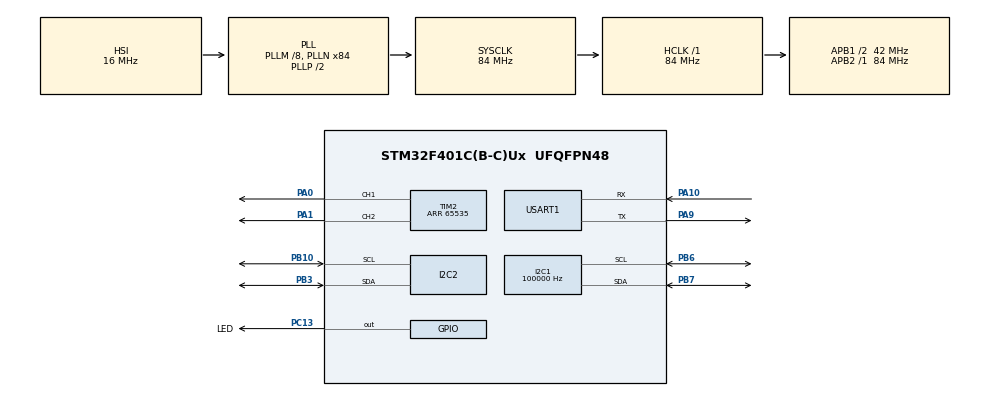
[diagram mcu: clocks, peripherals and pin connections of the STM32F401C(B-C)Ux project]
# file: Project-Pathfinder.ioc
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FREERTOS.Tasks01=statusTask,16,128,StartStatusTask,Default,NULL,Dynamic,NULL,NULL;commsTask,24,128,StartCommsTask,Default,NULL,Dynamic,NULL,NULL;readSensorGyro,16,128,StartReadSensorGyro,Default,NULL,Dynamic,NULL,NULL
FREERTOS.configUSE_NEWLIB_REENTRANT=1
I2C1.ClockSpeed=100000
I2C1.NoStretchMode=I2C_NOSTRETCH_DISABLE
Mcu.Family=STM32F4
Mcu.Name=STM32F401C(B-C)Ux
Mcu.Package=UFQFPN48
NVIC.PriorityGroup=NVIC_PRIORITYGROUP_4
NVIC.TIM1_UP_TIM10_IRQn=true\:15\:0\:false\:false\:true\:false\:false\:true
NVIC.TimeBase=TIM1_UP_TIM10_IRQn
NVIC.TimeBaseIP=TIM10
PA0-WKUP.Signal=S_TIM2_CH1_ETR
PA1.Signal=S_TIM2_CH2
PA10.Mode=Asynchronous
PA10.Signal=USART1_RX
PA9.Mode=Asynchronous
PA9.Signal=USART1_TX
PB10.Mode=I2C
PB10.Signal=I2C2_SCL
PB3.Mode=I2C
PB3.Signal=I2C2_SDA
PB6.Mode=I2C
PB6.Signal=I2C1_SCL
PB7.Mode=I2C
PB7.Signal=I2C1_SDA
PC13-ANTI_TAMP.GPIO_Label=LED
PC13-ANTI_TAMP.Signal=GPIO_Output
PH0\ -\ OSC_IN.Mode=HSE-External-Oscillator
PH0\ -\ OSC_IN.Signal=RCC_OSC_IN
PH1\ -\ OSC_OUT.Mode=HSE-External-Oscillator
PH1\ -\ OSC_OUT.Signal=RCC_OSC_OUT
ProjectManager.HeapSize=0x200
ProjectManager.StackSize=0x400
ProjectManager.TargetToolchain=STM32CubeIDE
RCC.48MHZClocksFreq_Value=42000000
RCC.AHBFreq_Value=84000000
RCC.APB1CLKDivider=RCC_HCLK_DIV2
RCC.APB1Freq_Value=42000000
RCC.APB1TimFreq_Value=84000000
RCC.APB2Freq_Value=84000000
RCC.APB2TimFreq_Value=84000000
RCC.CortexFreq_Value=84000000
RCC.HCLKFreq_Value=84000000
RCC.HSE_VALUE=25000000
RCC.HSI_VALUE=16000000
RCC.LSE_VALUE=32768
RCC.PLLM=8
RCC.PLLN=84
RCC.SYSCLKFreq_VALUE=84000000
RCC.SYSCLKSource=RCC_SYSCLKSOURCE_PLLCLK
RCC.VCOOutputFreq_Value=168000000
SH.S_TIM2_CH1_ETR.0=TIM2_CH1,PWM Generation1 CH1
SH.S_TIM2_CH2.0=TIM2_CH2,PWM Generation2 CH2
TIM2.AutoReloadPreload=TIM_AUTORELOAD_PRELOAD_ENABLE
TIM2.Channel-PWM\ Generation1\ CH1=TIM_CHANNEL_1
TIM2.Channel-PWM\ Generation2\ CH2=TIM_CHANNEL_2
TIM2.Period=65535
TIM5.AutoReloadPreload=TIM_AUTORELOAD_PRELOAD_ENABLE
USART1.VirtualMode=VM_ASYNC
VP_FREERTOS_VS_CMSIS_V2.Mode=CMSIS_V2
VP_SYS_VS_tim10.Mode=TIM10
VP_TIM2_VS_ClockSourceINT.Mode=Internal
VP_TIM5_VS_ClockSourceINT.Mode=Internal
board=custom

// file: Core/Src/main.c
/* USER CODE BEGIN Header */
/**
 ******************************************************************************
 * @file           : main.c
 * @brief          : Main program body
 ******************************************************************************
 * @attention
 *
 * Copyright (c) 2021 STMicroelectronics.
 * All rights reserved.
 *
 * This software is licensed under terms that can be found in the LICENSE file
 * in the root directory of this software component.
 * If no LICENSE file comes with this software, it is provided AS-IS.
 *
 ******************************************************************************
 */
/* USER CODE END Header */
#include "main.h"
#include "cmsis_os.h"
#include "i2c.h"
#include "tim.h"
#include "usart.h"
#include "gpio.h"

void SystemClock_Config(void);
void MX_FREERTOS_Init(void);
/* USER CODE BEGIN PFP */
void Enable_DWT(void);	// Enable the DWT for accurate time measurement
/* USER CODE END PFP */

int main(void)
{

  /* MCU Configuration--------------------------------------------------------*/

  /* Reset of all peripherals, Initializes the Flash interface and the Systick. */
  HAL_Init();

  /* Configure the system clock */
  SystemClock_Config();

  /* Initialize all configured peripherals */
  MX_GPIO_Init();
  MX_I2C1_Init();
  MX_TIM5_Init();
  MX_USART1_UART_Init();
  MX_TIM2_Init();
  MX_I2C2_Init();
  /* USER CODE BEGIN 2 */
	// Set initial state of the LED to off
	GPIOC -> ODR |= GPIO_PIN_13;
	// Enable DWT
	//Enable_DWT();
	HAL_TIM_PWM_Start(&htim2, TIM_CHANNEL_1);
	HAL_TIM_PWM_Start(&htim2, TIM_CHANNEL_2);
	HAL_TIM_Base_Start(&htim5);
  /* USER CODE END 2 */

  /* Init scheduler */
  osKernelInitialize();  /* Call init function for freertos objects (in freertos.c) */
  MX_FREERTOS_Init();
  /* Start scheduler */
  osKernelStart();

  /* We should never get here as control is now taken by the scheduler */
  /* Infinite loop */
	while (1)
	{

	}
}

void SystemClock_Config(void)
{
  RCC_OscInitTypeDef RCC_OscInitStruct = {0};
  RCC_ClkInitTypeDef RCC_ClkInitStruct = {0};

  /** Configure the main internal regulator output voltage
  */
  __HAL_RCC_PWR_CLK_ENABLE();
  __HAL_PWR_VOLTAGESCALING_CONFIG(PWR_REGULATOR_VOLTAGE_SCALE2);
  /** Initializes the RCC Oscillators according to the specified parameters
  * in the RCC_OscInitTypeDef structure.
  */
  RCC_OscInitStruct.OscillatorType = RCC_OSCILLATORTYPE_HSI;
  RCC_OscInitStruct.HSIState = RCC_HSI_ON;
  RCC_OscInitStruct.HSICalibrationValue = RCC_HSICALIBRATION_DEFAULT;
  RCC_OscInitStruct.PLL.PLLState = RCC_PLL_ON;
  RCC_OscInitStruct.PLL.PLLSource = RCC_PLLSOURCE_HSI;
  RCC_OscInitStruct.PLL.PLLM = 8;
  RCC_OscInitStruct.PLL.PLLN = 84;
  RCC_OscInitStruct.PLL.PLLP = RCC_PLLP_DIV2;
  RCC_OscInitStruct.PLL.PLLQ = 4;
  if (HAL_RCC_OscConfig(&RCC_OscInitStruct) != HAL_OK)
  {
    Error_Handler();
  }
  /** Initializes the CPU, AHB and APB buses clocks
  */
  RCC_ClkInitStruct.ClockType = RCC_CLOCKTYPE_HCLK|RCC_CLOCKTYPE_SYSCLK
                              |RCC_CLOCKTYPE_PCLK1|RCC_CLOCKTYPE_PCLK2;
  RCC_ClkInitStruct.SYSCLKSource = RCC_SYSCLKSOURCE_PLLCLK;
  RCC_ClkInitStruct.AHBCLKDivider = RCC_SYSCLK_DIV1;
  RCC_ClkInitStruct.APB1CLKDivider = RCC_HCLK_DIV2;
  RCC_ClkInitStruct.APB2CLKDivider = RCC_HCLK_DIV1;

  if (HAL_RCC_ClockConfig(&RCC_ClkInitStruct, FLASH_LATENCY_2) != HAL_OK)
  {
    Error_Handler();
  }
}

/* USER CODE BEGIN 4 */

/**
 * @brief  Enables the DWT counter for precise time measurement
 * @retval None
 */
void Enable_DWT(void)
{
	CoreDebug->DEMCR |= CoreDebug_DEMCR_TRCENA_Msk;
	DWT->CYCCNT = 0;
	DWT->CTRL |= DWT_CTRL_CYCCNTENA_Msk;
}

/* USER CODE END 4 */

void HAL_TIM_PeriodElapsedCallback(TIM_HandleTypeDef *htim)
{
  if (htim->Instance == TIM10) {
    HAL_IncTick();
  }
}

void Error_Handler(void)
{
	__disable_irq();
	while (1)
	{
	}
}

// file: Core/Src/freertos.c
/* USER CODE BEGIN Header */
/**
 ******************************************************************************
 * File Name          : freertos.c
 * Description        : Code for freertos applications
 ******************************************************************************
 * @attention
 *
 * Copyright (c) 2021 STMicroelectronics.
 * All rights reserved.
 *
 * This software is licensed under terms that can be found in the LICENSE file
 * in the root directory of this software component.
 * If no LICENSE file comes with this software, it is provided AS-IS.
 *
 ******************************************************************************
 */
/* USER CODE END Header */

#include "FreeRTOS.h"
#include "task.h"
#include "main.h"
#include "cmsis_os.h"

/* USER CODE BEGIN Includes */
#include "i2c.h"
#include "usart.h"
#include "gy_88.h"
#include "as5600.h"

#include <string.h> /* for debug messages */
#include <stdio.h> /* for sprintf */

/* USER CODE END Includes */

/* USER CODE BEGIN Variables */
int gyro_started = 0;
int encoder_started = 0;
/* USER CODE END Variables */
/* Definitions for statusTask */
osThreadId_t statusTaskHandle;
const osThreadAttr_t statusTask_attributes = {
  .name = "statusTask",
  .stack_size = 128 * 4,
  .priority = (osPriority_t) osPriorityBelowNormal,
};
/* Definitions for commsTask */
osThreadId_t commsTaskHandle;
const osThreadAttr_t commsTask_attributes = {
  .name = "commsTask",
  .stack_size = 128 * 4,
  .priority = (osPriority_t) osPriorityNormal,
};
/* Definitions for readSensorGyro */
osThreadId_t readSensorGyroHandle;
const osThreadAttr_t readSensorGyro_attributes = {
  .name = "readSensorGyro",
  .stack_size = 128 * 4,
  .priority = (osPriority_t) osPriorityBelowNormal,
};

void StartStatusTask(void *argument);
void StartCommsTask(void *argument);
void StartReadSensorGyro(void *argument);

void MX_FREERTOS_Init(void); /* (MISRA C 2004 rule 8.1) */

void MX_FREERTOS_Init(void) {

  /* Create the thread(s) */
  /* creation of statusTask */
  statusTaskHandle = osThreadNew(StartStatusTask, NULL, &statusTask_attributes);

  /* creation of commsTask */
  commsTaskHandle = osThreadNew(StartCommsTask, NULL, &commsTask_attributes);

  /* creation of readSensorGyro */
  readSensorGyroHandle = osThreadNew(StartReadSensorGyro, NULL, &readSensorGyro_attributes);

}

void StartStatusTask(void *argument)
{
  /* USER CODE BEGIN StartStatusTask */
	// Currently only blink every second to indicate the program is running
	for(;;)
	{
		osDelay(1000);
		GPIOC -> ODR ^= GPIO_PIN_13;
	}
  /* USER CODE END StartStatusTask */
}

void StartCommsTask(void *argument)
{
  /* USER CODE BEGIN StartCommsTask */

	// Delay to allow time for hardware to power up
	osDelay(100);

	// Start the PWM generation at 7% for calibration
	int speed = 65535 * 0.07;
	TIM2->CCR1 = speed;

	// Begin the AS5600 encoder
	UART_Log_Debug("encoder init\n\r");
	AS5600_Init(TIM5);
	AS5600_Reset_Encoder_Timer(TIM5->CNT);
	HAL_StatusTypeDef status = AS5600_Update_Encoder_Range(2000);
	if (status != HAL_OK)
	{
		/*while (status != HAL_OK)
		{
			osDelay(1000);
			UART_Log_Status("encoder init failed\n\rs: ", status);
			status = AS5600_Update_Encoder_Range(2000);
		}*/
		UART_Log_Status("encoder init failed\n\rs: ", status);
	}
	else
	{
		encoder_started = 1;
		// Set the PWM generation at 20% for testing speed
		speed = 65535 * 0.1;
		TIM2->CCR1 = speed;
	}

	/*for (int i = 0; i < 500; i++)
	{
		UART_Log_Debug_32("e_value: ", encoder_debug_values[i]);
		UART_Log_Debug("\n\r");
	}*/

	UART_Log_Debug("gy-88 init\n\r");
	status = MPU6050_Init();
	if (status != HAL_OK)
		UART_Log_Status("gy-88 init failed\n\rs: ", status);
	else
		gyro_started = 1;

	for(;;)
	{
		osDelay(1000);

		// Print debug information
		if (gyro_started == 1)
		{
			UART_Log_Debug_32("g_x: ", (int32_t)(gyro_pos.x) /754);
			UART_Log_Debug_32(" g_y: ", (int32_t)(gyro_pos.y) /754);
			UART_Log_Debug_32(" g_z: ", (int32_t)(gyro_pos.z) /754 );
		}

		if (encoder_started == 1)
		{
			UART_Log_Debug_32(" encoder min: ", encoder_range[0]);
			UART_Log_Debug_32(" encoder max: ", encoder_range[1]);
			UART_Log_Debug_32(" e: ", encoder_debug_counter);
			if (AS5600_Is_Encoder_Data_Ready() == 1)
				UART_Log_Debug_32(" encoder speed: ", AS5600_Get_Encoder_Speed());
			if (encoder_debug_counter < 1)
			{
				UART_Log_Debug(encoder_debug_values);
				encoder_debug_counter = 1;
				encoder_debug_values[0] = '\0';
			}
		}

		UART_Log_Debug("\n\r");
	}
  /* USER CODE END StartCommsTask */
}

void StartReadSensorGyro(void *argument)
{
  /* USER CODE BEGIN StartReadSensorGyro */
	osDelay(1000);

	// Begin the timer for the gyro readings
	MPU6050_Reset_Gyro_Timer(TIM5->CNT);
	// Update the gyro readings every 10 milliseconds
	for(;;)
	{
		if (gyro_started == 1)
			MPU6050_Update_Gyro_Pos();
		if (encoder_started == 1)
		{
			taskENTER_CRITICAL();
			AS5600_Update_Encoder_Speed();
			taskEXIT_CRITICAL();
		}
		osDelay(10);
	}
  /* USER CODE END StartReadSensorGyro */
}
